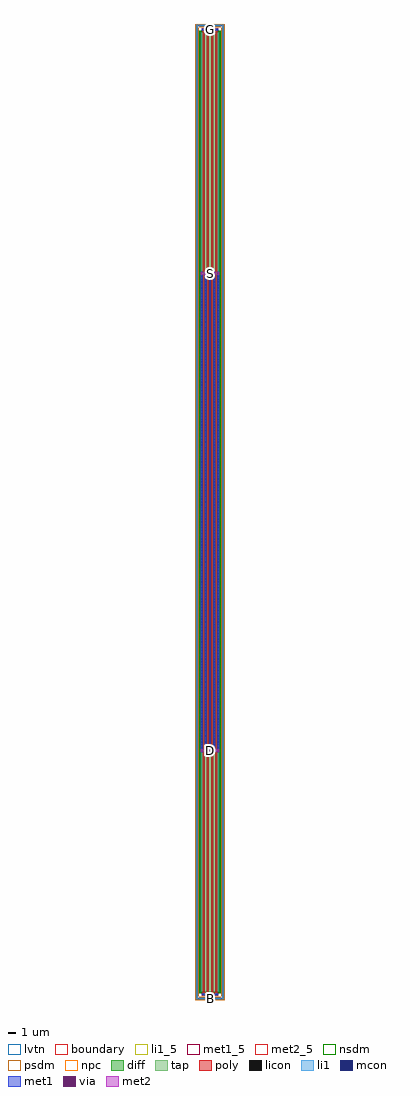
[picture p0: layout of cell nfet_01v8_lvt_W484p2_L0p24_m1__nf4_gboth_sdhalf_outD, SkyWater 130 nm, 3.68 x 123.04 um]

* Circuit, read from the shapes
.subckt nfet_01v8_lvt_W484p2_L0p24_m1__nf4_gboth_sdhalf_outD B D G S
XM1 S G D B sky130_fd_pr__nfet_01v8_lvt w=121.05 l=0.24 m=4
.ends

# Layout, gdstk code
import gdstk
lib = gdstk.Library(unit=1e-6, precision=1e-09)
def R(c, l, rs):  # rectangles x0, y0, x1, y1
    for r in rs: c.add(gdstk.rectangle(r[:2], r[2:], *l))
def A(c, l, x, y, w, h, nx, ny, dx, dy):  # array of equal rectangles
    R(c, l, [(x+i*dx, y+j*dy, x+i*dx+w, y+j*dy+h) for i in range(nx) for j in range(ny)])
diff = (65, 20)
tap = (65, 44)
poly = (66, 20)
licon = (66, 44)
li1_5 = (67, 5)
li1 = (67, 20)
mcon = (67, 44)
met1_5 = (68, 5)
met1 = (68, 20)
via = (68, 44)
met2_5 = (69, 5)
met2 = (69, 20)
nsdm = (93, 44)
psdm = (94, 20)
npc = (95, 20)
lvtn = (125, 44)
boundary = (235, 4)

sky130_fd_pr__nfet_01v8_ = lib.new_cell('sky130_fd_pr__nfet_01v8_lvt_3TA5SM')
R(sky130_fd_pr__nfet_01v8_, diff, [(-1.205,-60.525,1.205,60.525)])
R(sky130_fd_pr__nfet_01v8_, tap, [(-1.715,-61.395,1.715,-61.225), (-1.715,-61.225,-1.545,61.225), (1.545,-61.225,1.715,61.225), (-1.715,61.225,1.715,61.395)])
A(sky130_fd_pr__nfet_01v8_, poly, -0.915, -60.635, 0.24, 121.27, 4, 1, 0.53, 0)
R(sky130_fd_pr__nfet_01v8_, poly, [(-1.06,-60.965,1.06,-60.635), (-1.06,60.635,1.06,60.965)])
A(sky130_fd_pr__nfet_01v8_, licon, -1.105, -61.395, 0.17, 0.17, 7, 2, 0.34, 122.62)
A(sky130_fd_pr__nfet_01v8_, licon, -0.88, -60.885, 0.17, 0.17, 4, 2, 0.53, 121.6)
A(sky130_fd_pr__nfet_01v8_, licon, -1.715, -60.775, 0.17, 0.17, 1, 358, 0, 0.34)
A(sky130_fd_pr__nfet_01v8_, licon, 1.545, -60.775, 0.17, 0.17, 1, 358, 0, 0.34)
A(sky130_fd_pr__nfet_01v8_, licon, -1.145, -30.175, 0.17, 0.17, 5, 178, 0.53, 0.34)
A(sky130_fd_pr__nfet_01v8_, li1, -1.145, -30.315, 0.17, 60.63, 5, 1, 0.53, 0)
R(sky130_fd_pr__nfet_01v8_, li1, [(-1.715,-61.395,1.715,-61.225), (-1.715,-61.225,-1.545,61.225), (1.545,-61.225,1.715,61.225), (-1.06,-60.885,1.06,-60.715), (-1.06,60.715,1.06,60.885), (-1.715,61.225,1.715,61.395)])
A(sky130_fd_pr__nfet_01v8_, mcon, -0.88, -60.885, 0.17, 0.17, 4, 2, 0.53, 121.6)
A(sky130_fd_pr__nfet_01v8_, mcon, -1.145, -30.145, 0.17, 0.17, 5, 168, 0.53, 0.36)
A(sky130_fd_pr__nfet_01v8_, met1, -0.94, -60.915, 0.29, 0.03, 4, 2, 0.53, 0.2)
A(sky130_fd_pr__nfet_01v8_, met1, -1.175, -30.295, 0.23, 60.59, 5, 1, 0.53, 0)
A(sky130_fd_pr__nfet_01v8_, met1, -0.94, 60.685, 0.29, 0.03, 4, 2, 0.53, 0.2)
R(sky130_fd_pr__nfet_01v8_, met1, [(-1.06,-60.885,1.06,-60.715), (-1.06,60.715,1.06,60.885)])
R(sky130_fd_pr__nfet_01v8_, nsdm, [(-1.33,-60.65,1.33,60.65)])
R(sky130_fd_pr__nfet_01v8_, psdm, [(-1.84,-61.52,1.84,-61.1), (-1.84,-61.1,-1.42,61.1), (1.42,-61.1,1.84,61.1), (-1.84,61.1,1.84,61.52)])
R(sky130_fd_pr__nfet_01v8_, npc, [(-0.98,-60.985,0.98,-60.615), (-0.98,60.615,0.98,60.985)])
R(sky130_fd_pr__nfet_01v8_, lvtn, [(-1.095,-60.705,1.095,60.705)])
R(sky130_fd_pr__nfet_01v8_, boundary, [(-1.63,-61.31,1.63,61.31)])
sky130_fd_pr__nfet_01v8_.add(gdstk.Label('B', (0,-61.31), layer=67, texttype=5))
sky130_fd_pr__nfet_01v8_.add(gdstk.Label('D0', (-1.06,0), layer=67, texttype=5))
sky130_fd_pr__nfet_01v8_.add(gdstk.Label('G', (0.795,60.8), layer=67, texttype=5))
sky130_fd_pr__nfet_01v8_.add(gdstk.Label('G', (0.265,60.8), layer=67, texttype=5))
sky130_fd_pr__nfet_01v8_.add(gdstk.Label('G', (-0.265,60.8), layer=67, texttype=5))
sky130_fd_pr__nfet_01v8_.add(gdstk.Label('G', (-0.795,60.8), layer=67, texttype=5))
sky130_fd_pr__nfet_01v8_.add(gdstk.Label('S1', (-0.53,0), layer=67, texttype=5))
sky130_fd_pr__nfet_01v8_.add(gdstk.Label('D2', (0,0), layer=67, texttype=5))
sky130_fd_pr__nfet_01v8_.add(gdstk.Label('S3', (0.53,0), layer=67, texttype=5))

nfet_01v8_lvt_w484p2_l0p = lib.new_cell('nfet_01v8_lvt_W484p2_L0p24_m1__nf4_gboth_sdhalf_outD')
R(nfet_01v8_lvt_w484p2_l0p, li1_5, [(1.545,-0.085,1.715,0.085)])
R(nfet_01v8_lvt_w484p2_l0p, li1, [(1.545,-0.085,1.715,0.085)])
R(nfet_01v8_lvt_w484p2_l0p, met1_5, [(0.57,121.995,2.69,122.225)])
A(nfet_01v8_lvt_w484p2_l0p, met1, 0.44, 31.065, 0.26, 0.32, 3, 1, 1.06, 0)
R(nfet_01v8_lvt_w484p2_l0p, met1, [(0.97,91.235,1.23,91.555), (2.03,91.235,2.29,91.555), (0.57,121.995,2.69,122.225)])
A(nfet_01v8_lvt_w484p2_l0p, via, 0.495, 31.15, 0.15, 0.15, 3, 1, 1.06, 0)
R(nfet_01v8_lvt_w484p2_l0p, via, [(1.025,91.32,1.175,91.47), (2.085,91.32,2.235,91.47)])
R(nfet_01v8_lvt_w484p2_l0p, met2_5, [(0.435,31.065,2.825,31.385), (0.435,91.235,2.825,91.555)])
R(nfet_01v8_lvt_w484p2_l0p, met2, [(0.435,31.065,2.825,31.385), (0.435,91.235,2.825,91.555)])
nfet_01v8_lvt_w484p2_l0p.add(gdstk.Reference(sky130_fd_pr__nfet_01v8_, (1.63,61.31)))
nfet_01v8_lvt_w484p2_l0p.add(gdstk.Label('S', (1.63,91.395), layer=69, texttype=5))
nfet_01v8_lvt_w484p2_l0p.add(gdstk.Label('D', (1.63,31.225), layer=69, texttype=5))
nfet_01v8_lvt_w484p2_l0p.add(gdstk.Label('G', (1.63,122.11), layer=68, texttype=5))
nfet_01v8_lvt_w484p2_l0p.add(gdstk.Label('B', (1.63,0), layer=67, texttype=5))

lib.write_gds('nfet_01v8_lvt_W484p2_L0p24_m1__nf4_gboth_sdhalf_outD.gds')
